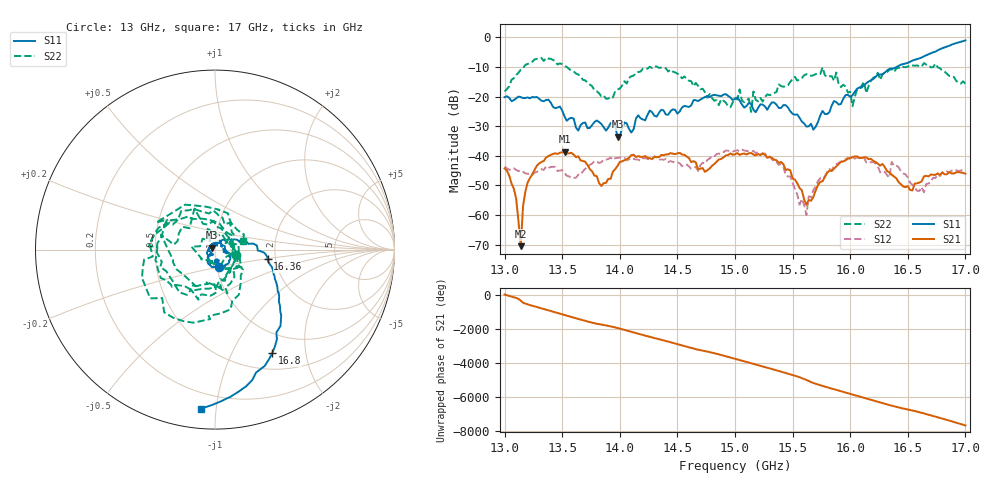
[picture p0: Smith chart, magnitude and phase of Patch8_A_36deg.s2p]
!Keysight Technologies,P9374A,MY57211810,A.19.30.04
!Date: Friday, May 09, 2025 09:21:51
!Correction: S11(Cdelta 2-Port  )
!S21(Cdelta 2-Port  )
!S12(Cdelta 2-Port  )
!S22(Cdelta 2-Port  )
!S2P File: Measurements: S11, S21, S12, S22:
# Hz S  dB  R 50
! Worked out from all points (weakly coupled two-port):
!   201 points, 13 GHz to 17 GHz, reference 50 ohm
!   highest |S21| = -38.64 dB at 13.52 GHz (marker M1); lowest = -70.5 dB at 13.14 GHz (marker M2)
!   lowest |S11| = -33.6 dB at 13.98 GHz (marker M3), VSWR 1.04, Z = 48.3 + j1.12 ohm
!   |S11| at or under -10 dB: start of sweep to 16.4 GHz
!   |S22| runs from -25.2 to -6.9 dB; largest |S21 - S12| = 0.0073
!   S11 on the Smith chart (normalised r, x): 13 GHz: 1.02, -0.20; 16.36 GHz: 1.81, -0.21; 16.8 GHz: 0.71, -1.45; 17 GHz: 0.11, -0.91
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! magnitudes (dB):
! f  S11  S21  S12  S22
! 13 GHz  -20.2  -44.3  -43.6  -18.2
! 13.1 GHz  -20.6  -54.4  -44.8  -12.7
! 13.14 GHz  -20.2  -70.5  -44.9  -10.9
! 13.16 GHz  -20.5  -57.0  -45.4  -10.4
! 13.2 GHz  -20.2  -49.0  -46.1  -9.0
! 13.52 GHz  -26.7  -38.6  -45.8  -9.6
! 13.68 GHz  -28.9  -41.7  -45.2  -14.3
! 13.84 GHz  -29.2  -50.2  -42.2  -19.9
! 13.98 GHz  -33.6  -43.4  -40.7  -17.6
! 14.34 GHz  -25.5  -40.5  -41.4  -10.3
! 15 GHz  -20.7  -39.5  -38.3  -20.6
! 15.14 GHz  -22.5  -39.0  -38.6  -25.2
! 15.4 GHz  -23.8  -42.1  -42.6  -16.4
! 15.62 GHz  -30.1  -56.6  -60.0  -12.4
! 15.68 GHz  -31.2  -53.9  -51.6  -12.8
! 15.88 GHz  -21.9  -43.6  -42.8  -11.9
! 16.02 GHz  -19.5  -40.4  -40.1  -23.2
! 16.34 GHz  -10.6  -45.6  -47.3  -11.0
! 16.36 GHz  -10.5  -46.3  -42.0  -10.6
! 16.58 GHz  -7.3  -49.3  -51.8  -9.4
! 16.8 GHz  -3.6  -45.6  -45.6  -11.2
! 17 GHz  -1.0  -46.0  -44.8  -15.7
